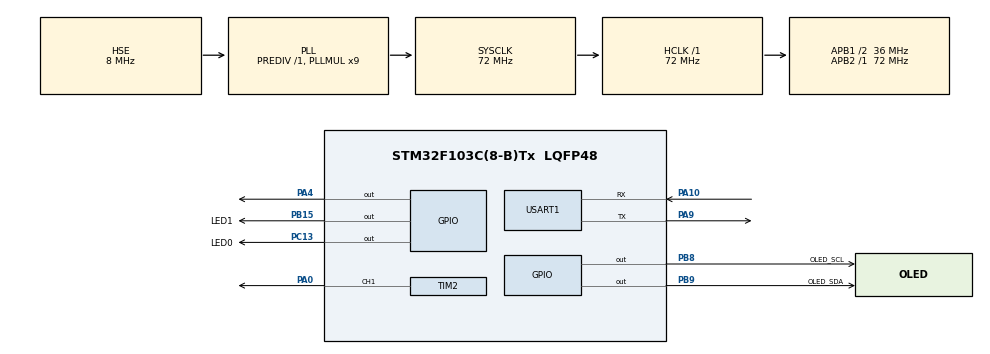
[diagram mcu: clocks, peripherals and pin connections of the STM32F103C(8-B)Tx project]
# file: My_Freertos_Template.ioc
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FREERTOS.Tasks01=defaultTask,0,128,StartDefaultTask,Default,NULL,Dynamic,NULL,NULL;myTask02,-3,128,StartTask02,Default,NULL,Dynamic,NULL,NULL
Mcu.Family=STM32F1
Mcu.Name=STM32F103C(8-B)Tx
Mcu.Package=LQFP48
NVIC.PriorityGroup=NVIC_PRIORITYGROUP_4
NVIC.TIM1_UP_IRQn=true\:15\:0\:false\:false\:true\:false\:false\:true\:true
NVIC.TimeBase=TIM1_UP_IRQn
NVIC.TimeBaseIP=TIM1
PA0-WKUP.Signal=S_TIM2_CH1_ETR
PA10.Mode=Asynchronous
PA10.Signal=USART1_RX
PA13.Mode=Serial_Wire
PA13.Signal=SYS_JTMS-SWDIO
PA14.Mode=Serial_Wire
PA14.Signal=SYS_JTCK-SWCLK
PA4.Signal=GPIO_Output
PA9.Mode=Asynchronous
PA9.Signal=USART1_TX
PB15.GPIO_Label=LED1
PB15.Signal=GPIO_Output
PB8.GPIO_Label=OLED_SCL
PB8.GPIO_Speed=GPIO_SPEED_FREQ_HIGH
PB8.PinState=GPIO_PIN_SET
PB8.Signal=GPIO_Output
PB9.GPIO_Label=OLED_SDA
PB9.GPIO_ModeDefaultOutputPP=GPIO_MODE_OUTPUT_OD
PB9.GPIO_PuPd=GPIO_PULLUP
PB9.GPIO_Speed=GPIO_SPEED_FREQ_HIGH
PB9.PinState=GPIO_PIN_SET
PB9.Signal=GPIO_Output
PC13-TAMPER-RTC.GPIO_Label=LED0
PC13-TAMPER-RTC.Signal=GPIO_Output
PD0-OSC_IN.Mode=HSE-External-Oscillator
PD0-OSC_IN.Signal=RCC_OSC_IN
PD1-OSC_OUT.Mode=HSE-External-Oscillator
PD1-OSC_OUT.Signal=RCC_OSC_OUT
ProjectManager.HeapSize=0x200
ProjectManager.StackSize=0x400
ProjectManager.TargetToolchain=SW4STM32
RCC.AHBFreq_Value=72000000
RCC.APB1CLKDivider=RCC_HCLK_DIV2
RCC.APB1Freq_Value=36000000
RCC.APB1TimFreq_Value=72000000
RCC.APB2Freq_Value=72000000
RCC.APB2TimFreq_Value=72000000
RCC.HCLKFreq_Value=72000000
RCC.PLLMUL=RCC_PLL_MUL9
RCC.PLLSourceVirtual=RCC_PLLSOURCE_HSE
RCC.SYSCLKFreq_VALUE=72000000
RCC.SYSCLKSource=RCC_SYSCLKSOURCE_PLLCLK
RCC.USBFreq_Value=72000000
SH.S_TIM2_CH1_ETR.0=TIM2_CH1,PWM Generation1 CH1
TIM2.Channel-PWM\ Generation1\ CH1=TIM_CHANNEL_1
TIM2.Period=100 - 1 
TIM2.Prescaler=720 - 1
USART1.VirtualMode=VM_ASYNC
VP_FREERTOS_VS_CMSIS_V1.Mode=CMSIS_V1
VP_SYS_VS_tim1.Mode=TIM1
VP_TIM2_VS_ClockSourceINT.Mode=Internal
board=custom

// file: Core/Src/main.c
/* USER CODE BEGIN Header */
/**
  ******************************************************************************
  * @file           : main.c
  * @brief          : Main program body
  ******************************************************************************
  * @attention
  *
  * Copyright (c) 2023 STMicroelectronics.
  * All rights reserved.
  *
  * This software is licensed under terms that can be found in the LICENSE file
  * in the root directory of this software component.
  * If no LICENSE file comes with this software, it is provided AS-IS.
  *
  ******************************************************************************
  */
/* USER CODE END Header */
#include "main.h"
#include "cmsis_os.h"
#include "tim.h"
#include "usart.h"
#include "gpio.h"

void SystemClock_Config(void);
void MX_FREERTOS_Init(void);

int main(void)
{

  /* MCU Configuration--------------------------------------------------------*/

  /* Reset of all peripherals, Initializes the Flash interface and the Systick. */
  HAL_Init();

  /* Configure the system clock */
  SystemClock_Config();

  /* Initialize all configured peripherals */
  MX_GPIO_Init();
  MX_USART1_UART_Init();
  MX_TIM2_Init();
  /* USER CODE BEGIN 2 */
    HAL_TIM_PWM_Start(&htim2,TIM_CHANNEL_1);
    HAL_TIM_PWM_Start(&htim2,TIM_CHANNEL_2);

  /* USER CODE END 2 */

  /* Call init function for freertos objects (in freertos.c) */
  MX_FREERTOS_Init();

  /* Start scheduler */
  osKernelStart();

  /* We should never get here as control is now taken by the scheduler */
  /* Infinite loop */
  while (1)
  {

  }
}

void SystemClock_Config(void)
{
  RCC_OscInitTypeDef RCC_OscInitStruct = {0};
  RCC_ClkInitTypeDef RCC_ClkInitStruct = {0};

  /** Initializes the RCC Oscillators according to the specified parameters
  * in the RCC_OscInitTypeDef structure.
  */
  RCC_OscInitStruct.OscillatorType = RCC_OSCILLATORTYPE_HSE;
  RCC_OscInitStruct.HSEState = RCC_HSE_ON;
  RCC_OscInitStruct.HSEPredivValue = RCC_HSE_PREDIV_DIV1;
  RCC_OscInitStruct.HSIState = RCC_HSI_ON;
  RCC_OscInitStruct.PLL.PLLState = RCC_PLL_ON;
  RCC_OscInitStruct.PLL.PLLSource = RCC_PLLSOURCE_HSE;
  RCC_OscInitStruct.PLL.PLLMUL = RCC_PLL_MUL9;
  if (HAL_RCC_OscConfig(&RCC_OscInitStruct) != HAL_OK)
  {
    Error_Handler();
  }

  /** Initializes the CPU, AHB and APB buses clocks
  */
  RCC_ClkInitStruct.ClockType = RCC_CLOCKTYPE_HCLK|RCC_CLOCKTYPE_SYSCLK
                              |RCC_CLOCKTYPE_PCLK1|RCC_CLOCKTYPE_PCLK2;
  RCC_ClkInitStruct.SYSCLKSource = RCC_SYSCLKSOURCE_PLLCLK;
  RCC_ClkInitStruct.AHBCLKDivider = RCC_SYSCLK_DIV1;
  RCC_ClkInitStruct.APB1CLKDivider = RCC_HCLK_DIV2;
  RCC_ClkInitStruct.APB2CLKDivider = RCC_HCLK_DIV1;

  if (HAL_RCC_ClockConfig(&RCC_ClkInitStruct, FLASH_LATENCY_2) != HAL_OK)
  {
    Error_Handler();
  }
}

void HAL_TIM_PeriodElapsedCallback(TIM_HandleTypeDef *htim)
{
  if (htim->Instance == TIM1) {
    HAL_IncTick();
  }
}

void Error_Handler(void)
{
  __disable_irq();
  while (1)
  {
  }
}

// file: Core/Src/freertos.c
/* USER CODE BEGIN Header */
/**
  ******************************************************************************
  * File Name          : freertos.c
  * Description        : Code for freertos applications
  ******************************************************************************
  * @attention
  *
  * Copyright (c) 2023 STMicroelectronics.
  * All rights reserved.
  *
  * This software is licensed under terms that can be found in the LICENSE file
  * in the root directory of this software component.
  * If no LICENSE file comes with this software, it is provided AS-IS.
  *
  ******************************************************************************
  */
/* USER CODE END Header */

#include "FreeRTOS.h"
#include "task.h"
#include "main.h"
#include "cmsis_os.h"

/* USER CODE BEGIN Includes */
#include "tim.h"
#include "retarget.h"
#include "usart.h"
#include "OLED.h"
#include "Data_Structure.h"
#include "My_Stack.h"
/* USER CODE END Includes */

/* USER CODE BEGIN PM */
LinkList L;
SqStack SQ;
/* USER CODE END PM */

osThreadId defaultTaskHandle;
osThreadId myTask02Handle;

void StartDefaultTask(void const * argument);
void StartTask02(void const * argument);

void MX_FREERTOS_Init(void); /* (MISRA C 2004 rule 8.1) */

/* GetIdleTaskMemory prototype (linked to static allocation support) */
void vApplicationGetIdleTaskMemory( StaticTask_t **ppxIdleTaskTCBBuffer, StackType_t **ppxIdleTaskStackBuffer, uint32_t *pulIdleTaskStackSize );

/* USER CODE BEGIN GET_IDLE_TASK_MEMORY */
static StaticTask_t xIdleTaskTCBBuffer;
static StackType_t xIdleStack[configMINIMAL_STACK_SIZE];

void vApplicationGetIdleTaskMemory( StaticTask_t **ppxIdleTaskTCBBuffer, StackType_t **ppxIdleTaskStackBuffer, uint32_t *pulIdleTaskStackSize )
{
  *ppxIdleTaskTCBBuffer = &xIdleTaskTCBBuffer;
  *ppxIdleTaskStackBuffer = &xIdleStack[0];
  *pulIdleTaskStackSize = configMINIMAL_STACK_SIZE;
  /* place for user code */
}
/* USER CODE END GET_IDLE_TASK_MEMORY */

void MX_FREERTOS_Init(void) {
  /* USER CODE BEGIN Init */
    RetargetInit(&huart1);
    OLED_Init();
    HAL_TIM_PWM_Start(&htim2,TIM_CHANNEL_1);
  /* USER CODE END Init */

  /* Create the thread(s) */
  /* definition and creation of defaultTask */
  osThreadDef(defaultTask, StartDefaultTask, osPriorityNormal, 0, 128*5);
  defaultTaskHandle = osThreadCreate(osThread(defaultTask), NULL);

  /* definition and creation of myTask02 */
  osThreadDef(myTask02, StartTask02, osPriorityIdle, 0, 128);
  myTask02Handle = osThreadCreate(osThread(myTask02), NULL);

}

void StartDefaultTask(void const * argument)
{
  /* USER CODE BEGIN StartDefaultTask */
  /* Infinite loop */
    uint16_t i = 0;
    LinkList temp;
    OLED_ShowString(1,1,"CCC!");
    LStatus flag;
    HAL_GPIO_WritePin(LED1_GPIO_Port,LED1_Pin,1);
    InitList(&L);
    temp = L;
    for(i = 0; i < 10; i++)
    {
        ListTailInsert(L,i*10);
        temp = temp->next;
    }
    i = 0;
    LNode* Node;
  for(;;)
  {
      if(i>=10)
      {
          i=0;
      }
      Node = LocateElem(L,i);
      __HAL_TIM_SET_COMPARE(&htim2,TIM_CHANNEL_1,Node->Data);
      i++;
      OLED_ShowChar(2,1,'c');
      OLED_ShowNum(3,1,L->Data,4);
      OLED_ShowNum(4,1,Node->Data,4);

      osDelay(100);
  }
  /* USER CODE END StartDefaultTask */
}

void StartTask02(void const * argument)
{
  /* USER CODE BEGIN StartTask02 */
  /* Infinite loop */
  for(;;)
  {
      //printf("HELLO!\r\n");
    osDelay(50);
  }
  /* USER CODE END StartTask02 */
}
